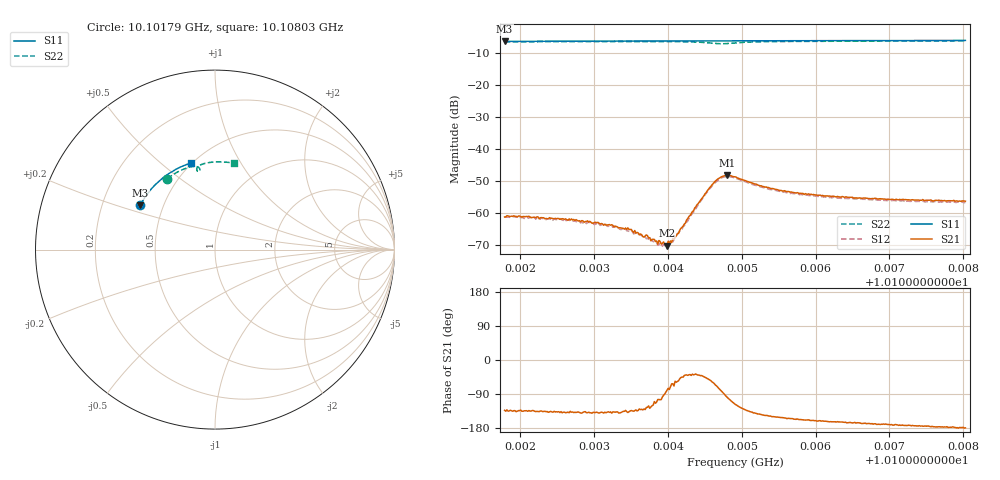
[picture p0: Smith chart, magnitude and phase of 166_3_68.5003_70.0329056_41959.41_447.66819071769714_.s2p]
#  HZ  S  RI  R  50.00
! Rohde & Schwarz Vector Network Analyzer
! Rohde-Schwarz,ZNB20-2Port,1311601062101988,3.16
! Created: UTC 3/20/2024, 4:56:00 PM
! freq[Hz]  re:S11  im:S11  re:S21  im:S21  re:S12  im:S12  re:S22  im:S22
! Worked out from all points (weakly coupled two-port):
!   401 points, 10.10179 GHz to 10.10803 GHz, reference 50 ohm
!   highest |S21| = -48.14 dB at 10.1048 GHz (marker M1); lowest = -70.1 dB at 10.10399 GHz (marker M2)
!   lowest |S11| = -6.3 dB at 10.10179 GHz (marker M3), VSWR 2.88, Z = 18.5 + j12 ohm
!   |S11| at or under -10 dB: nowhere
!   |S22| runs from -7.0 to -6.2 dB; largest |S21 - S12| = 0.0004
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1.0101789e10  -0.4167 0.2472  -0.000596 -0.000646  -0.000527 -0.000704  -0.266 0.396
1.0102085e10  -0.4082 0.263  -0.00062 -0.000646  -0.000557 -0.000655  -0.2503 0.4071
1.0102569e10  -0.3927 0.288  -0.000627 -0.000539  -0.000537 -0.000574  -0.2234 0.424
1.0102834e10  -0.3834 0.3013  -0.000591 -0.000494  -0.000523 -0.000506  -0.208 0.4325
1.0103239e10  -0.3687 0.3211  -0.000511 -0.000426  -0.000418 -0.000481  -0.1835 0.4444
1.0103473e10  -0.3597 0.3321  -0.000407 -0.000388  -0.000334 -0.000404  -0.1686 0.4505
1.0103614e10  -0.3541 0.3386  -0.000293 -0.00036  -0.000259 -0.000384  -0.1594 0.454
1.0103879e10  -0.3435 0.3505  -9.4e-05 -0.000369  -3.25e-05 -0.000327  -0.141 0.4597
1.0103988e10  -0.3389 0.3555  5.56e-05 -0.000309  8.6e-05 -0.000308  -0.1328 0.4616
1.0104051e10  -0.3362 0.3581  0.000159 -0.000313  0.000167 -0.000329  -0.128 0.4626
1.0104113e10  -0.3338 0.3608  0.00023 -0.000379  0.000283 -0.000345  -0.1232 0.4633
1.0104222e10  -0.3289 0.3655  0.000514 -0.000444  0.000527 -0.000369  -0.1139 0.4638
1.0104394e10  -0.3214 0.3726  0.00106 -0.000854  0.00106 -0.000697  -0.0982 0.4614
1.0104519e10  -0.3158 0.3779  0.00143 -0.00155  0.0015 -0.00141  -0.0873 0.4542
1.0104612e10  -0.3114 0.3815  0.00147 -0.00251  0.0016 -0.0023  -0.0835 0.445
1.0104706e10  -0.3073 0.3851  0.000735 -0.00353  0.000992 -0.00332  -0.0879 0.4364
1.0104799e10  -0.3032 0.3889  -0.000527 -0.00388  -0.000153 -0.00374  -0.0971 0.4367
1.0104908e10  -0.2982 0.3931  -0.00168 -0.00333  -0.0013 -0.00331  -0.1019 0.4467
1.0105408e10  -0.2743 0.4118  -0.0021 -0.00123  -0.00189 -0.00138  -0.071 0.4761
1.0105954e10  -0.2469 0.4303  -0.00182 -0.000687  -0.00168 -0.000828  -0.0324 0.4852
1.0106999e10  -0.1912 0.4603  -0.00163 -0.00028  -0.00155 -0.000418  0.0371 0.4886
1.0108028e10  -0.1331 0.4825  -0.00155 -2.46e-05  -0.00147 -0.000193  0.1032 0.4816
